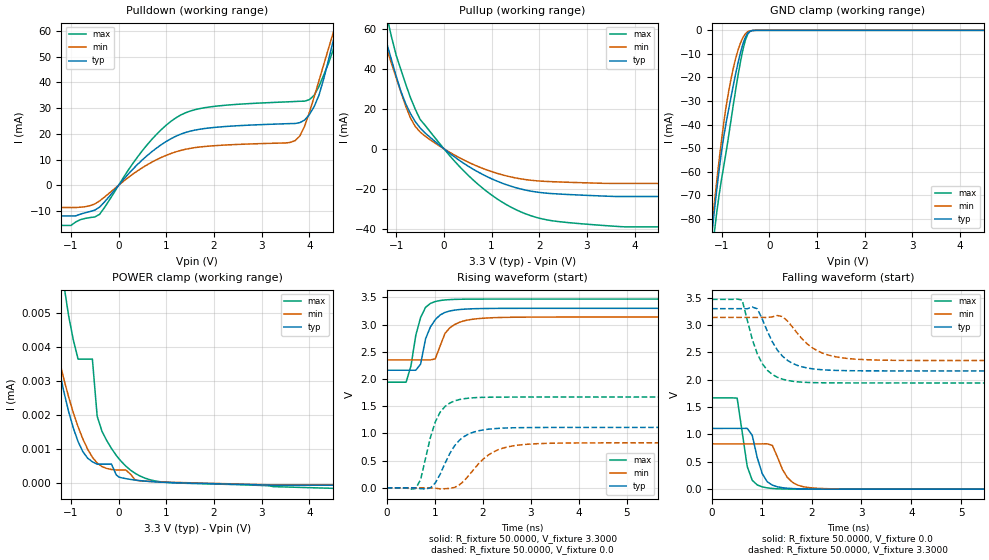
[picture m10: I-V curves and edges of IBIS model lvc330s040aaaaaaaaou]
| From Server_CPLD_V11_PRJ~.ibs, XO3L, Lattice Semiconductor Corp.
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[Model]   lvc330s040aaaaaaaaou
Model_type   Output
Polarity   Non-Inverting
Enable   Active-Low
Vmeas =   1.500000V
Cref =   0.0F
Rref =   1.0000M
Vref =   0.0V
C_comp   4.2000pF   3.8000pF   7.5000pF
[Temperature Range]   25.0000   0.1050k   -40.0000
[Voltage Range]   3.3000V   3.1400V   3.4700V
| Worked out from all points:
|   slope of the pulldown table from 0 to 0.495 V, typ, clamps not added: 50.3 ohm
|   slope of the pullup table from 0 to 0.495 V, typ, clamps not added: 58.2 ohm
|   GND clamp passes 1 mA (typ) near -0.44 V on its own axis
|   rising waveform, R_fixture 50.0000, V_fixture 3.3000: 20-80 % time 264ps typ, 311ps min, 218ps max; typ from 2.16 V to 3.3 V
|   rising waveform, R_fixture 50.0000, V_fixture 0.0: 20-80 % time 438ps typ, 579ps min, 327ps max; typ from 0 V to 1.11 V
|   falling waveform, R_fixture 50.0000, V_fixture 0.0: 20-80 % time 219ps typ, 291ps min, 181ps max; typ from 1.11 V to 0 V
|   falling waveform, R_fixture 50.0000, V_fixture 3.3000: 20-80 % time 443ps typ, 565ps min, 361ps max; typ from 3.3 V to 2.16 V
[Pulldown]
|Voltage   I(typ)   I(min)   I(max)
-3.3V     -11.95mA   -8.665mA   -15.64mA
-1V       -11.95mA   -8.665mA   -15.64mA
-500mV    -9.688mA   -7.272mA   -12.36mA
600mV     11.57mA    7.979mA    15.78mA
1.3V      19.87mA    13.54mA    27.32mA
3.7V      24.03mA    17.34mA    32.61mA
3.9V      25.35mA    22.92mA    32.72mA
4.1V      30.57mA    34.32mA    34.98mA
4.3V      41.28mA    46.83mA    42.85mA
4.5V      56.15mA    59.31mA    52.63mA
4.6V      63.78mA    65.49mA    60.83mA
6.6V      186.7mA    170.5mA    212.2mA
[Pullup]
|Voltage   I(typ)   I(min)   I(max)
-3.3V     181.9mA    129.8mA    219mA
-1.4V     69.7mA     64.85mA    88.33mA
-1.3V     61.4mA     57.55mA    77.61mA
-1.2V     53.01mA    50.21mA    66.78mA
-1.1V     44.61mA    42.84mA    56.18mA
-800mV    22.47mA    21.3mA     32.3mA
-500mV    10.48mA    8.431mA    14.74mA
600mV     -10.05mA   -7.708mA   -15.35mA
1.6V      -20.1mA    -15.04mA   -31.52mA
2.3V      -22.53mA   -16.54mA   -36.2mA
3.7V      -23.93mA   -17.39mA   -39.04mA
6.55V     -23.93mA   -17.39mA   -39.15mA
[GND_clamp]
|Voltage   I(typ)   I(min)   I(max)
-3.3V     -955.3mA   -930.3mA   -978mA
-1.2V     -86.18mA   -82.93mA   -94.91mA
-1.15V    -76.73mA   -73.29mA   -85.74mA
-1.1V     -67.71mA   -63.95mA   -77.28mA
-1V       -51.52mA   -46.57mA   -63.21mA
-900mV    -38.87mA   -31.88mA   -51.26mA
-800mV    -28.25mA   -20.58mA   -37.97mA
-700mV    -18.1mA    -11.63mA   -24.81mA
-600mV    -9.267mA   -5.265mA   -13.06mA
-450mV    -1.181mA   -586.6uA   -1.592mA
-250mV    -3.532uA   -4.055uA   -3.003uA
6.6V      0A         0A         0A
[POWER_clamp]
|Voltage   I(typ)   I(min)   I(max)
-3.25V    664.8uA    749.4uA    597.1uA
-1.55V    5.916uA    5.714uA    11.4uA
-1.45V    4.989uA    4.975uA    9.753uA
-1.15V    2.705uA    3.075uA    5.865uA
-850mV    1.227uA    1.663uA    3.656uA
-550mV    632.7nA    767.9nA    3.656uA
-450mV    564.9nA    596.8nA    1.977uA
-150mV    564.9nA    405.6nA    1.026uA
0V        190.5nA    392.4nA    734.7nA
450mV     79.23nA    72.94nA    213.9nA
950mV     30.32nA    38.42nA    33.55nA
6.6V      -57.56nA   -49.34nA   -232.5nA
[Ramp]
| variable   typ   min   max
dV/dt_r  0.7026/0.4330n   0.4966/0.5731n   1.0018/0.3242n
dV/dt_f  0.6827/0.4387n   0.4730/0.5599n   0.9168/0.3576n
R_load = 50.0000
[Rising Waveform]
R_fixture=   50.0000
V_fixture=   3.3000
V_fixture_min=   3.1400
V_fixture_max=   3.4700
|time   V(typ)   V(min)   V(max)
0s        2.162V     2.352V     1.942V
404ps     2.162V     2.352V     1.942V
606.1ps   2.162V     2.352V     2.806V
707.1ps   2.276V     2.352V     3.134V
808.1ps   2.736V     2.352V     3.316V
1.01ns    3.091V     2.37V      3.424V
1.111ns   3.177V     2.605V     3.443V
1.414ns   3.267V     3.002V     3.464V
2.02ns    3.296V     3.119V     3.47V
10ns      3.3V       3.14V      3.47V
[Rising Waveform]
R_fixture=   50.0000
V_fixture=   0.0
V_fixture_min=   0.0
V_fixture_max=   0.0
|time   V(typ)   V(min)   V(max)
0s        1.288uV    1.554uV    1.323uV
606.1ps   -395.5uV   2.808uV    -9.94mV
707.1ps   -15.72mV   17.67uV    156.1mV
909.1ps   -458.6uV   -207.2uV   922.6mV
1.01ns    88.34mV    -6.184mV   1.209V
1.212ns   447.1mV    -16.04mV   1.495V
1.515ns   876.6mV    55.59mV    1.623V
2.121ns   1.079V     606.6mV    1.666V
2.828ns   1.107V     794.2mV    1.669V
10ns      1.111V     827.7mV    1.67V
[Falling Waveform]
R_fixture=   50.0000
V_fixture=   0.0
V_fixture_min=   0.0
V_fixture_max=   0.0
|time   V(typ)   V(min)   V(max)
0s        1.111V     827.7mV    1.67V
505.1ps   1.111V     827.7mV    1.664V
707.1ps   1.111V     827.7mV    415.7mV
808.1ps   985.1mV    827.7mV    161.2mV
1.01ns    281.4mV    828.2mV    40.87mV
1.111ns   132.9mV    828.5mV    22.94mV
1.212ns   73.68mV    799.7mV    12.45mV
1.515ns   17.1mV     211.6mV    2.151mV
2.02ns    2.152mV    21.8mV     239.2uV
10ns      -1.071uV   8.416uV    -6.671uV
[Falling Waveform]
R_fixture=   50.0000
V_fixture=   3.3000
V_fixture_min=   3.1400
V_fixture_max=   3.4700
|time   V(typ)   V(min)   V(max)
0s        3.3V       3.14V      3.47V
606.1ps   3.3V       3.14V      3.457V
808.1ps   3.33V      3.14V      2.74V
909.1ps   3.299V     3.14V      2.475V
1.01ns    3.108V     3.141V     2.293V
1.212ns   2.692V     3.151V     2.097V
1.515ns   2.355V     3.075V     1.988V
2.02ns    2.2V       2.581V     1.948V
2.727ns   2.167V     2.389V     1.942V
10ns      2.162V     2.352V     1.942V
